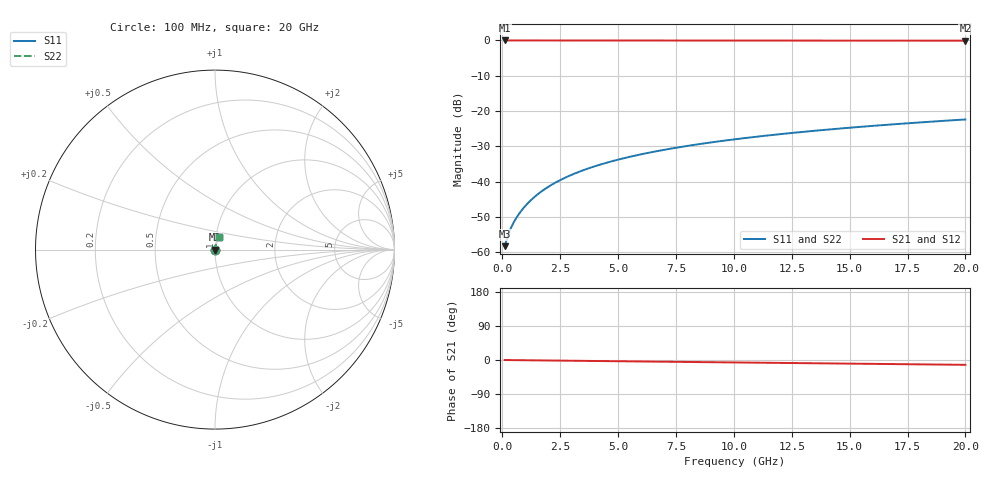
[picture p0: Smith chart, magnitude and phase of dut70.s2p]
! Touchstone file exported from HFSS 2026.1.0
!  File:  C:/ffzhzh/LocalFiles/Ansys_Project_Files/temp_train_TMRDL_70_1782881178_13352.aedt
!  Generated:  12:47:27 PM Jul  1, 2026
!  Design:  TMRDL
!  Project:  temp_train_TMRDL_70_1782881178_13352
! Variables:
!  h_bsmrdl = 2um
!  h_ox = 20um
!  h_rdl = 5um
!  h_sub = 80um
!  h_tmrdl = 3.45um
!  h_tsv = 80um
!  h_via = 3um
!  l_bsmrdl = 300um
!  l_sub = 592.15um
!  l_tmrdl = 192.15um
!  m_sub = 200um
!  pitch = 33.66um
!  r_tsv = 6um
!  s_tmrdl = 10um
!  w_bsmrdl = 18um
!  w_sub = 500um
!  w_tmrdl = 23.15um
!  x_tsv_center1 = 203.725um
!  x_tsv_center2 = 521.725um
!  x_tsv_center3 = 737.025um
!  x_tsv_center4 = 1055.025um
!  x_tsv_center5 = 1270.325um
!  x_tsv_center6 = 1588.325um
# GHz S MA R 50.000000
! Terminal data exported
! Port[1] = TM_RDL1_1_T1
! Port[2] = TM_RDL1_1_T2
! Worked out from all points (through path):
!   200 points, 100 MHz to 20 GHz, reference 50 ohm
!   highest |S21| = -0.01 dB at 100 MHz (marker M1); lowest = -0.1 dB at 20 GHz (marker M2)
!   group delay of S21, straight-line fit = 1.76 ps
!   lowest |S11| = -58.3 dB at 100 MHz (marker M3), VSWR 1.00, Z = 50.1 + j0.0531 ohm
!   |S11| at or under -10 dB: start of sweep to end of sweep
!   |S22| runs from -58.3 to -22.4 dB; largest |S21 - S12| = 3.2e-15
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0.1  0.00122 25.7  0.9989 -0.1  0.9989 -0.1  0.00122 25.7
! Gamma 0 0 0 0
! Port Impedance 50 0 50 0
0.2  0.001556 41.0  0.9988 -0.1  0.9988 -0.1  0.001556 41.0
0.3  0.001932 49.4  0.9987 -0.2  0.9987 -0.2  0.001932 49.4
0.4  0.002305 54.8  0.9987 -0.3  0.9987 -0.3  0.002305 54.8
0.5  0.002674 58.7  0.9986 -0.3  0.9986 -0.3  0.002674 58.7
0.6  0.003043 61.9  0.9986 -0.4  0.9986 -0.4  0.003043 61.9
0.8  0.003789 66.6  0.9985 -0.5  0.9985 -0.5  0.003789 66.6
1  0.00455 69.9  0.9985 -0.7  0.9985 -0.7  0.00455 69.9
1.2  0.005326 72.4  0.9984 -0.8  0.9984 -0.8  0.005326 72.4
1.7  0.007304 76.1  0.9984 -1.1  0.9984 -1.1  0.007304 76.1
2.2  0.009309 78.1  0.9983 -1.4  0.9983 -1.4  0.009309 78.1
2.8  0.01172 79.4  0.9981 -1.8  0.9981 -1.8  0.01172 79.4
3.5  0.01453 80.1  0.998 -2.3  0.998 -2.3  0.01453 80.1
4.2  0.01733 80.3  0.9978 -2.7  0.9978 -2.7  0.01733 80.3
5  0.02049 80.3  0.9975 -3.3  0.9975 -3.3  0.02049 80.3
5.9  0.02402 80.2  0.9972 -3.8  0.9972 -3.8  0.02402 80.2
6.8  0.02751 79.9  0.9969 -4.4  0.9969 -4.4  0.02751 79.9
8.3  0.03324 79.3  0.9963 -5.4  0.9963 -5.4  0.03324 79.3
10.1  0.04002 78.4  0.9957 -6.5  0.9957 -6.5  0.04002 78.4
13.4  0.05222 76.8  0.9944 -8.6  0.9944 -8.6  0.05222 76.8
16.7  0.0642 75.1  0.9932 -10.7  0.9932 -10.7  0.0642 75.1
20  0.07601 73.3  0.9919 -12.7  0.9919 -12.7  0.07601 73.3
